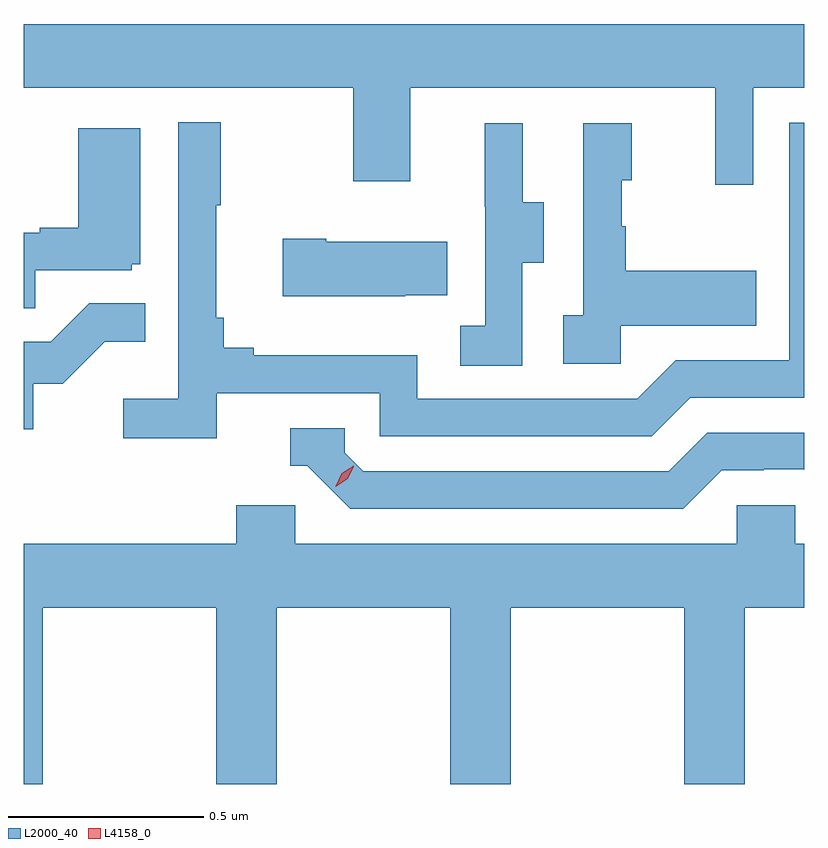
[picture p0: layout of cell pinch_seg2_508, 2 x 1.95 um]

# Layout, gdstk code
import gdstk
lib = gdstk.Library(unit=1e-6, precision=1e-09)
def P(c, l, *ps):  # polygons
    for p in ps: c.add(gdstk.Polygon(p, *l))
L2000_40 = (2000, 40)
L4158_0 = (4158, 0)

pinch_seg2_508 = lib.new_cell('pinch_seg2_508')
P(pinch_seg2_508, L2000_40, [(972.711,593.024),(972.842,593.024),(972.842,593.188),(970.842,593.188),(970.842,593.024),(971.686,593.024),(971.686,592.785),(971.833,592.785),(971.833,593.024),(972.614,593.024),(972.614,592.776),(972.711,592.776)],
  [(971.336,592.242),(971.754,592.242),(971.754,592.131),(972.451,592.131),(972.55,592.23),(972.842,592.23),(972.842,592.935),(972.804,592.935),(972.804,592.326),(972.513,592.326),(972.414,592.227),(971.85,592.227),(971.85,592.339),(971.431,592.339),(971.431,592.358),(971.354,592.358),(971.354,592.435),(971.335,592.435),(971.335,592.723),(971.347,592.723),(971.347,592.936),(971.238,592.936),(971.238,592.228),(971.097,592.228),(971.097,592.126),(971.336,592.126)],
  [(972.12,592.576),(972.175,592.576),(972.175,592.731),(972.121,592.731),(972.121,592.933),(972.023,592.933),(972.023,592.719),(972.024,592.719),(972.024,592.415),(971.961,592.415),(971.961,592.312),(972.12,592.312)],
  [(972.372,592.415),(972.719,592.415),(972.719,592.555),(972.385,592.555),(972.385,592.67),(972.375,592.67),(972.375,592.788),(972.4,592.788),(972.4,592.933),(972.276,592.933),(972.276,592.442),(972.225,592.442),(972.225,592.317),(972.372,592.317)],
  [(970.871,592.557),(971.118,592.557),(971.118,592.572),(971.14,592.572),(971.14,592.921),(970.982,592.921),(970.982,592.666),(970.883,592.666),(970.883,592.653),(970.842,592.653),(970.842,592.459),(970.871,592.459)],
  [(971.819,592.493),(971.927,592.493),(971.927,592.63),(971.617,592.63),(971.617,592.638),(971.505,592.638),(971.505,592.49),(971.819,592.49)],
  [(970.866,592.266),(970.942,592.266),(971.049,592.373),(971.153,592.373),(971.153,592.472),(971.009,592.472),(970.911,592.374),(970.842,592.374),(970.842,592.149),(970.866,592.149)],
  [(972.631,592.044),(972.738,592.044),(972.738,592.047),(972.841,592.047),(972.842,592.046),(972.842,592.14),(972.594,592.14),(972.495,592.041),(971.712,592.041),(971.664,592.089),(971.664,592.152),(971.525,592.152),(971.525,592.056),(971.568,592.056),(971.679,591.945),(972.532,591.945)],
  [(972.09,591.692),(972.535,591.692),(972.535,591.24),(972.69,591.24),(972.69,591.692),(972.842,591.692),(972.842,591.856),(972.819,591.856),(972.819,591.954),(972.669,591.954),(972.669,591.856),(971.538,591.856),(971.538,591.954),(971.387,591.954),(971.387,591.856),(970.842,591.856),(970.842,591.24),(970.89,591.24),(970.89,591.692),(971.335,591.692),(971.335,591.24),(971.49,591.24),(971.49,591.692),(971.935,591.692),(971.935,591.24),(972.09,591.24)])
P(pinch_seg2_508, L4158_0, [(971.641,592.002),(971.641,592.003),(971.657,592.036),(971.687,592.056),(971.688,592.056),(971.688,592.055),(971.672,592.022),(971.642,592.002)])

lib.write_gds('pinch_seg2_508.gds')
